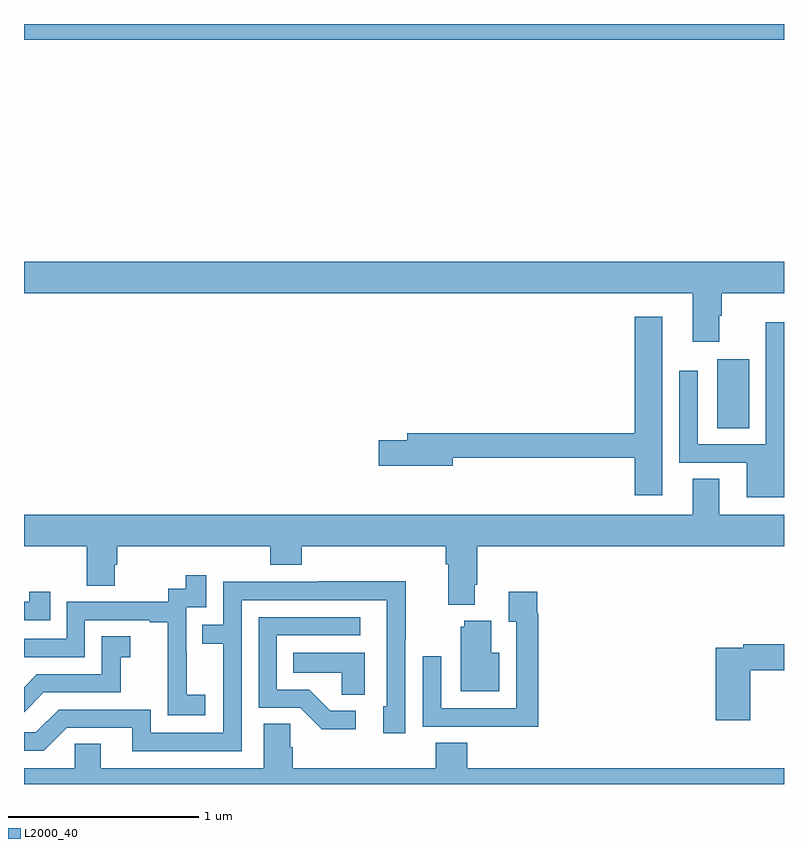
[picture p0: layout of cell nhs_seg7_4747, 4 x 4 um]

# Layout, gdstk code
import gdstk
lib = gdstk.Library(unit=1e-6, precision=1e-09)
def R(c, l, rs):  # rectangles x0, y0, x1, y1
    for r in rs: c.add(gdstk.rectangle(r[:2], r[2:], *l))
def P(c, l, *ps):  # polygons
    for p in ps: c.add(gdstk.Polygon(p, *l))
L2000_40 = (2000, 40)

nhs_seg7_4747 = lib.new_cell('nhs_seg7_4747')
R(nhs_seg7_4747, L2000_40, [(412.649,1031.872,412.816,1032.235), (409,1033.916,413,1034)])
P(nhs_seg7_4747, L2000_40, [(412.66,1032.464),(412.673,1032.464),(412.673,1032.584),(413,1032.584),(413,1032.748),(409,1032.748),(409,1032.584),(412.52,1032.584),(412.52,1032.327),(412.66,1032.327)],
  [(412.36,1032.46),(412.214,1032.46),(412.214,1031.846),(411.017,1031.846),(411.017,1031.81),(410.868,1031.81),(410.868,1031.675),(411.256,1031.675),(411.256,1031.718),(412.214,1031.718),(412.214,1031.52),(412.36,1031.52)],
  [(413,1032.43),(412.905,1032.43),(412.905,1031.787),(412.545,1031.787),(412.545,1032.175),(412.449,1032.175),(412.449,1031.691),(412.805,1031.691),(412.805,1031.51),(413,1031.51)],
  [(411.373,1031.05),(411.386,1031.05),(411.386,1031.252),(413,1031.252),(413,1031.416),(412.66,1031.416),(412.66,1031.606),(412.52,1031.606),(412.52,1031.416),(409,1031.416),(409,1031.252),(409.33,1031.252),(409.33,1031.044),(409.477,1031.044),(409.477,1031.154),(409.49,1031.154),(409.49,1031.252),(410.297,1031.252),(410.297,1031.153),(410.462,1031.153),(410.462,1031.252),(411.221,1031.252),(411.221,1031.156),(411.233,1031.156),(411.233,1030.943),(411.373,1030.943)],
  [(409.954,1030.471),(409.856,1030.471),(409.856,1030.7),(409.854,1030.7),(409.854,1030.929),(409.959,1030.929),(409.959,1031.098),(409.851,1031.098),(409.851,1031.028),(409.758,1031.028),(409.758,1030.959),(409.224,1030.959),(409.224,1030.764),(409,1030.764),(409,1030.668),(409.32,1030.668),(409.32,1030.863),(409.661,1030.863),(409.661,1030.851),(409.757,1030.851),(409.757,1030.567),(409.756,1030.567),(409.756,1030.361),(409.954,1030.361)],
  [(410.145,1030.968),(410.91,1030.968),(410.91,1030.41),(410.891,1030.41),(410.891,1030.266),(411.006,1030.266),(411.006,1030.759),(411.009,1030.759),(411.009,1031.066),(410.545,1031.066),(410.545,1031.064),(410.049,1031.064),(410.049,1030.839),(409.939,1030.839),(409.939,1030.738),(410.049,1030.738),(410.049,1030.269),(409.668,1030.269),(409.668,1030.392),(409.182,1030.392),(409.062,1030.272),(409,1030.272),(409,1030.176),(409.104,1030.176),(409.224,1030.296),(409.571,1030.296),(409.571,1030.173),(410.145,1030.173)],
  [(409.139,1031.011),(409.028,1031.011),(409.028,1030.959),(409,1030.959),(409,1030.863),(409.139,1030.863)],
  [(411.707,1030.898),(411.7,1030.898),(411.7,1031.011),(411.551,1031.011),(411.551,1030.855),(411.591,1030.855),(411.591,1030.398),(411.195,1030.398),(411.195,1030.672),(411.099,1030.672),(411.099,1030.302),(411.415,1030.302),(411.415,1030.301),(411.707,1030.301)],
  [(410.746,1030.386),(410.611,1030.386),(410.5,1030.497),(410.331,1030.497),(410.331,1030.782),(410.77,1030.782),(410.77,1030.878),(410.235,1030.878),(410.235,1030.401),(410.454,1030.401),(410.567,1030.289),(410.746,1030.289)],
  [(411.502,1030.69),(411.46,1030.69),(411.46,1030.858),(411.317,1030.858),(411.317,1030.827),(411.299,1030.827),(411.299,1030.487),(411.502,1030.487)],
  [(409.105,1030.482),(409.509,1030.482),(409.509,1030.667),(409.558,1030.667),(409.558,1030.777),(409.41,1030.777),(409.41,1030.578),(409.068,1030.578),(409,1030.51),(409,1030.377)],
  [(412.823,1030.6),(413,1030.6),(413,1030.736),(412.786,1030.736),(412.786,1030.716),(412.64,1030.716),(412.64,1030.335),(412.823,1030.335)],
  [(410.794,1030.69),(410.416,1030.69),(410.416,1030.586),(410.673,1030.586),(410.673,1030.471),(410.794,1030.471)],
  [(413,1030.084),(411.332,1030.084),(411.332,1030.217),(411.167,1030.217),(411.167,1030.084),(410.414,1030.084),(410.414,1030.193),(410.4,1030.193),(410.4,1030.316),(410.261,1030.316),(410.261,1030.084),(409.405,1030.084),(409.405,1030.211),(409.266,1030.211),(409.266,1030.084),(409,1030.084),(409,1030),(413,1030)])

lib.write_gds('nhs_seg7_4747.gds')
